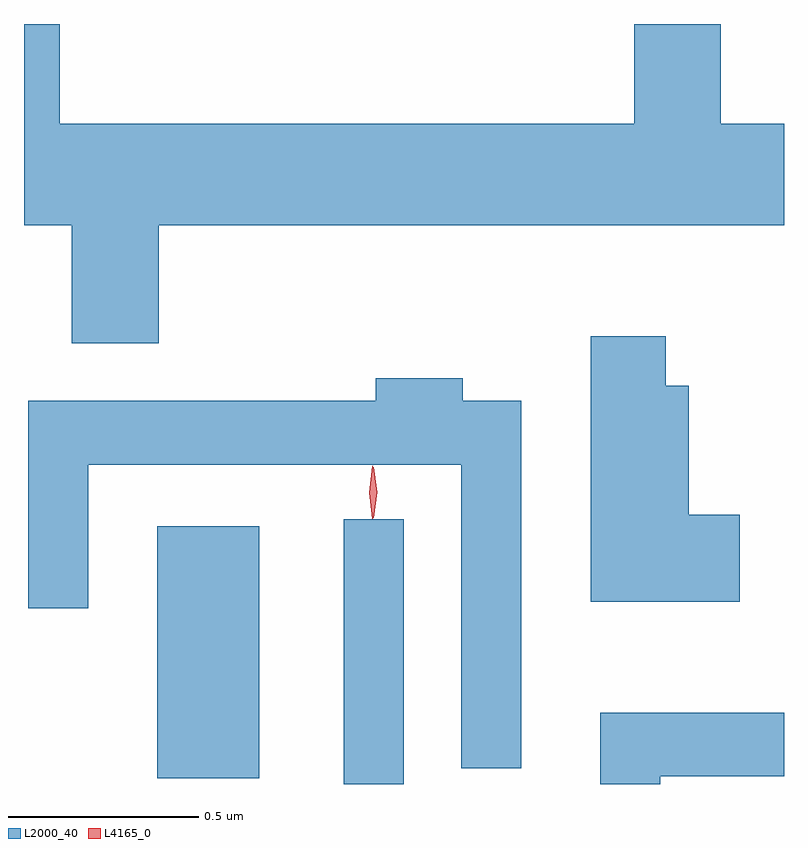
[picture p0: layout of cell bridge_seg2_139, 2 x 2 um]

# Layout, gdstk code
import gdstk
lib = gdstk.Library(unit=1e-6, precision=1e-09)
def R(c, l, rs):  # rectangles x0, y0, x1, y1
    for r in rs: c.add(gdstk.rectangle(r[:2], r[2:], *l))
def P(c, l, *ps):  # polygons
    for p in ps: c.add(gdstk.Polygon(p, *l))
L2000_40 = (2000, 40)
L4165_0 = (4165, 0)

bridge_seg2_139 = lib.new_cell('bridge_seg2_139')
R(bridge_seg2_139, L2000_40, [(1025.316,1111.226,1025.474,1111.923), (1024.826,1111.241,1025.094,1111.904)])
P(bridge_seg2_139, L2000_40, [(1024.829,1112.696),(1026.475,1112.696),(1026.475,1112.964),(1026.309,1112.964),(1026.309,1113.226),(1026.081,1113.226),(1026.081,1112.964),(1024.569,1112.964),(1024.569,1113.226),(1024.475,1113.226),(1024.475,1112.696),(1024.601,1112.696),(1024.601,1112.386),(1024.829,1112.386)],
  [(1026.359,1111.934),(1026.224,1111.934),(1026.224,1112.274),(1026.164,1112.274),(1026.164,1112.404),(1025.966,1112.404),(1025.966,1111.706),(1026.359,1111.706)],
  [(1025.784,1112.234),(1025.629,1112.234),(1025.629,1112.294),(1025.401,1112.294),(1025.401,1112.234),(1024.486,1112.234),(1024.486,1111.688),(1024.644,1111.688),(1024.644,1112.066),(1025.626,1112.066),(1025.626,1111.268),(1025.784,1111.268)],
  [(1026.149,1111.246),(1026.475,1111.246),(1026.475,1111.414),(1025.991,1111.414),(1025.991,1111.226),(1026.149,1111.226)])
P(bridge_seg2_139, L4165_0, [(1025.394,1111.927),(1025.394,1111.927),(1025.384,1111.994),(1025.394,1112.06),(1025.394,1112.06),(1025.395,1112.06),(1025.404,1111.994),(1025.395,1111.927)],
  [(1025.392,1111.924),(1025.383,1111.993),(1025.392,1112.062),(1025.393,1112.063),(1025.393,1112.062),(1025.403,1111.993),(1025.393,1111.924),(1025.393,1111.924)])

lib.write_gds('bridge_seg2_139.gds')
